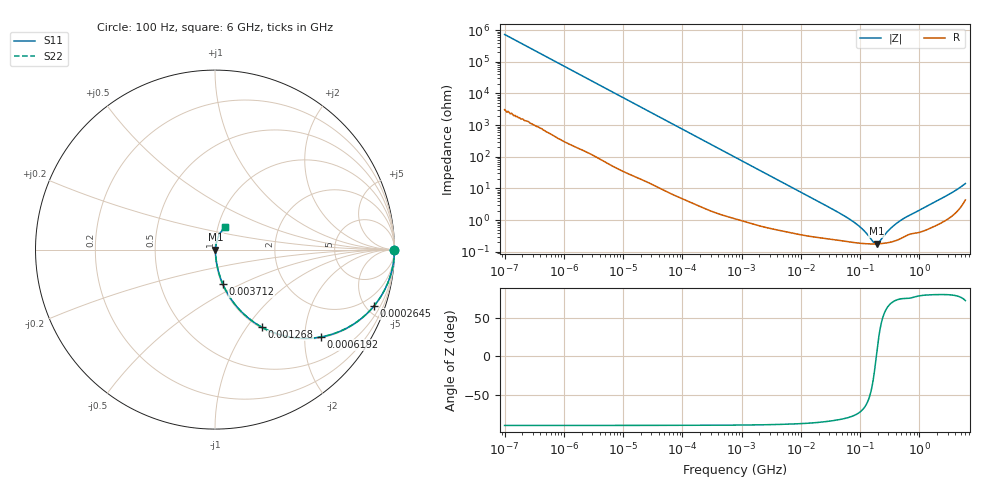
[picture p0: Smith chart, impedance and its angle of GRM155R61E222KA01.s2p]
!Murata Part Number: GRM155R61E222KA01
!These Parameters are Measured in Series Mode Connection
!Data Generated on Mar 30, 2021
!  o--ll--o
!Port1  Port2
!  o------o
!Operation Temp=25[degC], DC Bias Voltage=0[V]
!Freq. Start=100[Hz] Stop=6[GHz] 401[Steps]
# Hz S RI R 50
!Freq.(Hz) S11(Real) S11(Imag) S21(Real) S21(Imag) S12(Real) S12(Imag) S22(Real) S22(Imag)
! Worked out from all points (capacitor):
!   401 points, 100 Hz to 6 GHz, reference 50 ohm
!   read as one part in series: C = 2.19 nF near 109 Hz
!   lowest |Z| = 179 mohm at 190.9 MHz (marker M1)
!   series resonance near 188.1 MHz, so ESL is about 330 pH
!   S11 on the Smith chart (normalised r, x): 100 Hz: open; 264.5 kHz: 1.04, -5.63; 619.2 kHz: 1.02, -2.41; 1.268 MHz: 1.02, -1.18; 3.712 MHz: 1.01, -0.41; 6 GHz: 1.09, +0.27
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100  1 -0.000138  6e-07 0.000138  6e-07 0.000138  1 -0.000138
2008  1 -0.00274  1.99e-05 0.00274  1.99e-05 0.00274  1 -0.00274
40335  0.9967 -0.0543  0.00327 0.0543  0.00327 0.0543  0.9967 -0.0543
108014  0.9784 -0.1423  0.0216 0.1423  0.0216 0.1423  0.9784 -0.1423
264476  0.8861 -0.3138  0.1139 0.3138  0.1139 0.3138  0.8861 -0.3138
395726  0.7784 -0.4111  0.2216 0.4111  0.2216 0.4111  0.7784 -0.4111
619225  0.592 -0.4863  0.408 0.4863  0.408 0.4863  0.592 -0.4863
774597  0.4828 -0.494  0.5172 0.494  0.5172 0.494  0.4828 -0.494
1267578  0.2625 -0.4329  0.7375 0.4329  0.7375 0.4329  0.2625 -0.4329
2074311  0.1208 -0.317  0.8792 0.317  0.8792 0.317  0.1208 -0.317
3712478  0.0443 -0.1937  0.9557 0.1937  0.9557 0.1937  0.0443 -0.1937
7266822  0.0146 -0.1028  0.9854 0.1028  0.9854 0.1028  0.0146 -0.1028
1.555665e7  0.00538 -0.0488  0.9946 0.0488  0.9946 0.0488  0.00538 -0.0488
7.455971e7  0.00207 -0.00907  0.9979 0.00907  0.9979 0.00907  0.00207 -0.00907
1.115611e8  0.00185 -0.00471  0.9982 0.00471  0.9982 0.00471  0.00185 -0.00471
1.669249e8  0.00177 -0.00104  0.9982 0.00104  0.9982 0.00104  0.00177 -0.00104
1.909225e8  0.00178 0.000133  0.9982 -0.000133  0.9982 -0.000133  0.00178 0.000133
2.183701e8  0.00181 0.00131  0.9982 -0.00131  0.9982 -0.00131  0.00181 0.00131
3.124326e8  0.002 0.00461  0.998 -0.00461  0.998 -0.00461  0.002 0.00461
5.59173e8  0.00311 0.0112  0.9969 -0.0112  0.9969 -0.0112  0.00311 0.0112
2.34314e9  0.0103 0.0463  0.9897 -0.0463  0.9897 -0.0463  0.0103 0.0463
6e9  0.0578 0.1233  0.9422 -0.1233  0.9422 -0.1233  0.0578 0.1233
